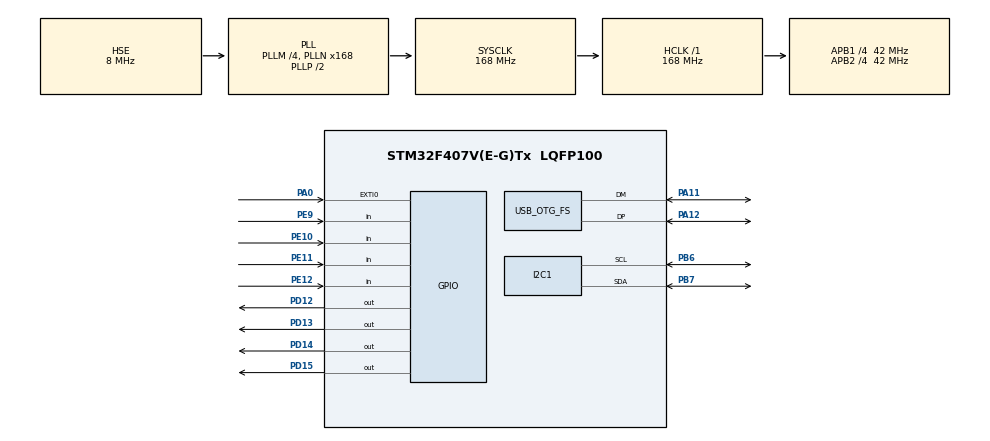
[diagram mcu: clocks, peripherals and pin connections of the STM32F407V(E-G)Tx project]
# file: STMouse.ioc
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Mcu.Family=STM32F4
Mcu.Name=STM32F407V(E-G)Tx
Mcu.Package=LQFP100
NVIC.EXTI0_IRQn=true\:0\:0\:false\:false\:true\:true\:true
NVIC.OTG_FS_IRQn=true\:0\:0\:false\:false\:true\:false\:true
NVIC.PriorityGroup=NVIC_PRIORITYGROUP_4
PA0-WKUP.Signal=GPXTI0
PA11.Mode=Device_Only
PA11.Signal=USB_OTG_FS_DM
PA12.Mode=Device_Only
PA12.Signal=USB_OTG_FS_DP
PB6.Mode=I2C
PB6.Signal=I2C1_SCL
PB7.Mode=I2C
PB7.Signal=I2C1_SDA
PD12.Signal=GPIO_Output
PD13.Signal=GPIO_Output
PD14.Signal=GPIO_Output
PD15.Signal=GPIO_Output
PE10.GPIO_PuPd=GPIO_PULLDOWN
PE10.Signal=GPIO_Input
PE11.GPIO_PuPd=GPIO_PULLDOWN
PE11.Signal=GPIO_Input
PE12.GPIO_PuPd=GPIO_PULLDOWN
PE12.Signal=GPIO_Input
PE9.GPIO_PuPd=GPIO_PULLDOWN
PE9.Signal=GPIO_Input
PH0-OSC_IN.Mode=HSE-External-Oscillator
PH0-OSC_IN.Signal=RCC_OSC_IN
PH1-OSC_OUT.Mode=HSE-External-Oscillator
PH1-OSC_OUT.Signal=RCC_OSC_OUT
ProjectManager.HeapSize=0x200
ProjectManager.StackSize=0x400
ProjectManager.TargetToolchain=SW4STM32
RCC.48MHZClocksFreq_Value=48000000
RCC.AHBFreq_Value=168000000
RCC.APB1CLKDivider=RCC_HCLK_DIV4
RCC.APB1Freq_Value=42000000
RCC.APB1TimFreq_Value=84000000
RCC.APB2CLKDivider=RCC_HCLK_DIV4
RCC.APB2Freq_Value=42000000
RCC.APB2TimFreq_Value=84000000
RCC.CortexFreq_Value=168000000
RCC.HCLKFreq_Value=168000000
RCC.HSE_VALUE=8000000
RCC.HSI_VALUE=16000000
RCC.LSE_VALUE=32768
RCC.PLLM=4
RCC.PLLN=168
RCC.PLLQ=7
RCC.SYSCLKFreq_VALUE=168000000
RCC.SYSCLKSource=RCC_SYSCLKSOURCE_PLLCLK
RCC.VCOOutputFreq_Value=336000000
USB_DEVICE.CLASS_NAME_FS=HID
USB_DEVICE.PRODUCT_STRING_HID_FS=STMouse
USB_DEVICE.VirtualMode-HID_FS=Hid
USB_DEVICE.VirtualModeFS=Hid_FS
USB_OTG_FS.VirtualMode=Device_Only
VP_USB_DEVICE_VS_USB_DEVICE_HID_FS.Mode=HID_FS
board=custom

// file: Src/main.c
/* USER CODE BEGIN Header */
/**
  ******************************************************************************
  * @file           : main.c
  * @brief          : Main program body
  ******************************************************************************
  * @attention
  *
  * <h2><center>&copy; Copyright (c) 2019 STMicroelectronics.
  * All rights reserved.</center></h2>
  *
  * This software component is licensed by ST under Ultimate Liberty license
  * SLA0044, the "License"; You may not use this file except in compliance with
  * the License. You may obtain a copy of the License at:
  *                             www.st.com/SLA0044
  *
  ******************************************************************************
  */
/* USER CODE END Header */

#include "main.h"
#include "usb_device.h"

/* USER CODE BEGIN Includes */
#include "APImouse.h"
#include "BNO055.h"
/* USER CODE END Includes */

I2C_HandleTypeDef hi2c1;

void SystemClock_Config(void);
static void MX_GPIO_Init(void);
static void MX_I2C1_Init(void);

/* USER CODE BEGIN 0 */
int16_t x,y;
/* USER CODE END 0 */

int main(void)
{
  /* USER CODE BEGIN 1 */
	mouseHID.buttons=0;
	mouseHID.x=0;
	mouseHID.y=0;
	mouseHID.wheel=0;
  /* USER CODE END 1 */

  /* MCU Configuration--------------------------------------------------------*/

  /* Reset of all peripherals, Initializes the Flash interface and the Systick. */
  HAL_Init();

  /* Configure the system clock */
  SystemClock_Config();

  /* Initialize all configured peripherals */
  MX_GPIO_Init();
  MX_USB_DEVICE_Init();
  MX_I2C1_Init();
  /* USER CODE BEGIN 2 */
  if(begin()==0)
	  HAL_GPIO_TogglePin(GPIOD,GPIO_PIN_12);
  /* USER CODE END 2 */

  /* Infinite loop */
  while (1)
  {

    /* USER CODE BEGIN 3 */
	  if(HAL_GPIO_ReadPin(GPIOE,GPIO_PIN_9)){
	  	HAL_GPIO_TogglePin(GPIOD,GPIO_PIN_13);
	  }

	  mouse_send();

	  if(HAL_GPIO_ReadPin(GPIOD,GPIO_PIN_13)){
		  y=I2C_read16(BNO055_ADDRESS_A, VECTOR_ACCELEROMETER)>>5;
		  x=I2C_read16(BNO055_ADDRESS_A, VECTOR_ACCELEROMETER+2)>>5;

		  if(x<200 & (x>5 || x<-5)){
				  mouseHID.x=x;
		  }else mouseHID.x=0;

		  if(y<200 & (y>5 || y<-5)){
				  mouseHID.y=y;
		  }else mouseHID.y=0;

		  if(HAL_GPIO_ReadPin(GPIOD,GPIO_PIN_14)){
			  mouseHID.x*=-1;
			  mouseHID.y*=-1;
		  }

		//Lewy przycisk 0x01 | Prawy przycisk 0x02 | Srodkowy przycisk 0x04
		  int16_t tmp=0;
		  if(HAL_GPIO_ReadPin(GPIOE,GPIO_PIN_10)){
			tmp+=4;
			HAL_GPIO_TogglePin(GPIOD,GPIO_PIN_15);}
		  if(HAL_GPIO_ReadPin(GPIOE,GPIO_PIN_11)){
			tmp+=2;
			HAL_GPIO_TogglePin(GPIOD,GPIO_PIN_15);}
		  if(HAL_GPIO_ReadPin(GPIOE,GPIO_PIN_12)){
			tmp+=1;
			HAL_GPIO_TogglePin(GPIOD,GPIO_PIN_15);}
		  mouseHID.buttons=tmp;
	  }else{
			mouseHID.buttons=0;
			mouseHID.x=0;
			mouseHID.y=0;
			HAL_GPIO_WritePin(GPIOD,GPIO_PIN_15,0);
	  }
  }
  /* USER CODE END 3 */
}

void SystemClock_Config(void)
{
  RCC_OscInitTypeDef RCC_OscInitStruct = {0};
  RCC_ClkInitTypeDef RCC_ClkInitStruct = {0};

  /** Configure the main internal regulator output voltage
  */
  __HAL_RCC_PWR_CLK_ENABLE();
  __HAL_PWR_VOLTAGESCALING_CONFIG(PWR_REGULATOR_VOLTAGE_SCALE1);
  /** Initializes the CPU, AHB and APB busses clocks
  */
  RCC_OscInitStruct.OscillatorType = RCC_OSCILLATORTYPE_HSE;
  RCC_OscInitStruct.HSEState = RCC_HSE_ON;
  RCC_OscInitStruct.PLL.PLLState = RCC_PLL_ON;
  RCC_OscInitStruct.PLL.PLLSource = RCC_PLLSOURCE_HSE;
  RCC_OscInitStruct.PLL.PLLM = 4;
  RCC_OscInitStruct.PLL.PLLN = 168;
  RCC_OscInitStruct.PLL.PLLP = RCC_PLLP_DIV2;
  RCC_OscInitStruct.PLL.PLLQ = 7;
  if (HAL_RCC_OscConfig(&RCC_OscInitStruct) != HAL_OK)
  {
    Error_Handler();
  }
  /** Initializes the CPU, AHB and APB busses clocks
  */
  RCC_ClkInitStruct.ClockType = RCC_CLOCKTYPE_HCLK|RCC_CLOCKTYPE_SYSCLK
                              |RCC_CLOCKTYPE_PCLK1|RCC_CLOCKTYPE_PCLK2;
  RCC_ClkInitStruct.SYSCLKSource = RCC_SYSCLKSOURCE_PLLCLK;
  RCC_ClkInitStruct.AHBCLKDivider = RCC_SYSCLK_DIV1;
  RCC_ClkInitStruct.APB1CLKDivider = RCC_HCLK_DIV4;
  RCC_ClkInitStruct.APB2CLKDivider = RCC_HCLK_DIV4;

  if (HAL_RCC_ClockConfig(&RCC_ClkInitStruct, FLASH_LATENCY_5) != HAL_OK)
  {
    Error_Handler();
  }
}

static void MX_I2C1_Init(void)
{

  hi2c1.Instance = I2C1;
  hi2c1.Init.ClockSpeed = 100000;
  hi2c1.Init.DutyCycle = I2C_DUTYCYCLE_2;
  hi2c1.Init.OwnAddress1 = 0;
  hi2c1.Init.AddressingMode = I2C_ADDRESSINGMODE_7BIT;
  hi2c1.Init.DualAddressMode = I2C_DUALADDRESS_DISABLE;
  hi2c1.Init.OwnAddress2 = 0;
  hi2c1.Init.GeneralCallMode = I2C_GENERALCALL_DISABLE;
  hi2c1.Init.NoStretchMode = I2C_NOSTRETCH_DISABLE;
  if (HAL_I2C_Init(&hi2c1) != HAL_OK)
  {
    Error_Handler();
  }

}

static void MX_GPIO_Init(void)
{
  GPIO_InitTypeDef GPIO_InitStruct = {0};

  /* GPIO Ports Clock Enable */
  __HAL_RCC_GPIOH_CLK_ENABLE();
  __HAL_RCC_GPIOA_CLK_ENABLE();
  __HAL_RCC_GPIOE_CLK_ENABLE();
  __HAL_RCC_GPIOD_CLK_ENABLE();
  __HAL_RCC_GPIOB_CLK_ENABLE();

  /*Configure GPIO pin Output Level */
  HAL_GPIO_WritePin(GPIOD, GPIO_PIN_12|GPIO_PIN_13|GPIO_PIN_14|GPIO_PIN_15, GPIO_PIN_RESET);

  /*Configure GPIO pin : PA0 */
  GPIO_InitStruct.Pin = GPIO_PIN_0;
  GPIO_InitStruct.Mode = GPIO_MODE_IT_RISING;
  GPIO_InitStruct.Pull = GPIO_NOPULL;
  HAL_GPIO_Init(GPIOA, &GPIO_InitStruct);

  /*Configure GPIO pins : PE9 PE10 PE11 PE12 */
  GPIO_InitStruct.Pin = GPIO_PIN_9|GPIO_PIN_10|GPIO_PIN_11|GPIO_PIN_12;
  GPIO_InitStruct.Mode = GPIO_MODE_INPUT;
  GPIO_InitStruct.Pull = GPIO_PULLDOWN;
  HAL_GPIO_Init(GPIOE, &GPIO_InitStruct);

  /*Configure GPIO pins : PD12 PD13 PD14 PD15 */
  GPIO_InitStruct.Pin = GPIO_PIN_12|GPIO_PIN_13|GPIO_PIN_14|GPIO_PIN_15;
  GPIO_InitStruct.Mode = GPIO_MODE_OUTPUT_PP;
  GPIO_InitStruct.Pull = GPIO_NOPULL;
  GPIO_InitStruct.Speed = GPIO_SPEED_FREQ_LOW;
  HAL_GPIO_Init(GPIOD, &GPIO_InitStruct);

  /* EXTI interrupt init*/
  HAL_NVIC_SetPriority(EXTI0_IRQn, 0, 0);
  HAL_NVIC_EnableIRQ(EXTI0_IRQn);

}

/* USER CODE BEGIN 4 */
void HAL_GPIO_EXTI_Callback(uint16_t GPIO_Pin)
{
   	if(GPIO_Pin == GPIO_PIN_0)
   	{
   		HAL_GPIO_TogglePin(GPIOD,GPIO_PIN_14);
   	}
}

/* USER CODE END 4 */

void Error_Handler(void)
{
}

/************************ (C) COPYRIGHT STMicroelectronics *****END OF FILE****/
